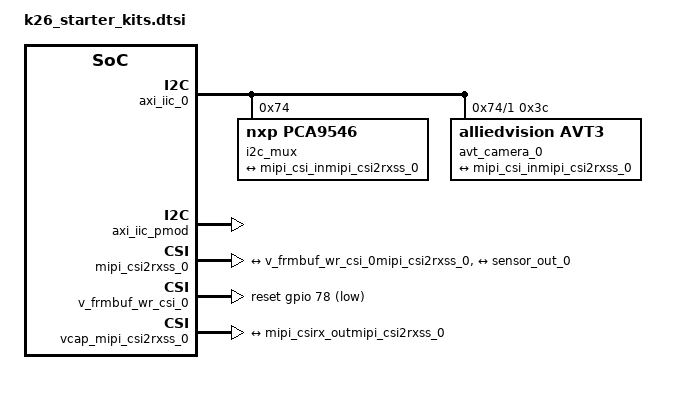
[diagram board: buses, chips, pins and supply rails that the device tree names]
#include <dt-bindings/gpio/gpio.h>
#include <dt-bindings/media/xilinx-vip.h>

#define MIPI_CSI2_DT_NULL		0x10
#define MIPI_CSI2_DT_BLANKING		0x11
#define MIPI_CSI2_DT_EMBEDDED_8B	0x12
#define MIPI_CSI2_DT_YUV420_8B		0x18
#define MIPI_CSI2_DT_YUV420_10B		0x19
#define MIPI_CSI2_DT_YUV420_8B_LEGACY	0x1a
#define MIPI_CSI2_DT_YUV420_8B_CS	0x1c
#define MIPI_CSI2_DT_YUV420_10B_CS	0x1d
#define MIPI_CSI2_DT_YUV422_8B		0x1e
#define MIPI_CSI2_DT_YUV422_10B		0x1f
#define MIPI_CSI2_DT_RGB444		0x20
#define MIPI_CSI2_DT_RGB555		0x21
#define MIPI_CSI2_DT_RGB565		0x22
#define MIPI_CSI2_DT_RGB666		0x23
#define MIPI_CSI2_DT_RGB888		0x24
#define MIPI_CSI2_DT_RAW28		0x26
#define MIPI_CSI2_DT_RAW24		0x27
#define MIPI_CSI2_DT_RAW6		0x28
#define MIPI_CSI2_DT_RAW7		0x29
#define MIPI_CSI2_DT_RAW8		0x2a
#define MIPI_CSI2_DT_RAW10		0x2b
#define MIPI_CSI2_DT_RAW12		0x2c
#define MIPI_CSI2_DT_RAW14		0x2d
#define MIPI_CSI2_DT_RAW16		0x2e
#define MIPI_CSI2_DT_RAW20		0x2f
#define MIPI_CSI2_DT_USER_DEFINED(n)	(0x30 + (n))	/* 0..7 */

/dts-v1/;
/plugin/;
/ {
	fragment@0 {
		target = <&fpga_full>;
		overlay0: __overlay__ {
			#address-cells = <2>;
			#size-cells = <2>;
			firmware-name = "k26_starter_kits.bit.bin";
			resets = <&zynqmp_reset 116>, <&zynqmp_reset 117>, <&zynqmp_reset 118>, <&zynqmp_reset 119>;
		};
	};
	fragment@1 {
		target = <&amba>;
		overlay1: __overlay__ {
			afi0: afi0 {
				compatible = "xlnx,afi-fpga";
				config-afi = < 0 0>, <1 0>, <2 0>, <3 0>, <4 0>, <5 0>, <6 0>, <7 0>, <8 0>, <9 0>, <10 0>, <11 0>, <12 0>, <13 0>, <14 0x900>, <15 0x000>;
			};
			clocking0: clocking0 {
				#clock-cells = <0>;
				assigned-clock-rates = <99999001>;
				assigned-clocks = <&zynqmp_clk 71>;
				clock-output-names = "fabric_clk";
				clocks = <&zynqmp_clk 71>;
				compatible = "xlnx,fclk";
			};
			clocking1: clocking1 {
				#clock-cells = <0>;
				assigned-clock-rates = <299997009>;
				assigned-clocks = <&zynqmp_clk 72>;
				clock-output-names = "fabric_clk";
				clocks = <&zynqmp_clk 72>;
				compatible = "xlnx,fclk";
			};
		};
	};
	fragment@2 {
		target = <&amba>;
		overlay2: __overlay__ {
			#address-cells = <2>;
			#size-cells = <2>;
			axi_iic_0: i2c@80010000 {
				#address-cells = <1>;
				#size-cells = <0>;
				clock-names = "s_axi_aclk";
				clocks = <&zynqmp_clk 71>;
				compatible = "xlnx,axi-iic-2.1", "xlnx,xps-iic-2.00.a";
				interrupt-names = "iic2intc_irpt";
				interrupt-parent = <&gic>;
				interrupts = <0 89 4>;
				reg = <0x0 0x80010000 0x0 0x10000>;

				i2c_mux: i2c-mux@74 {
					compatible = "nxp,pca9546";
					#address-cells = <1>;
					#size-cells = <0>;
					reg = <0x74>;

					i2c@0 {
						#address-cells = <1>;
						#size-cells = <0>;
						reg = <0>;

						avt_camera_2@3c {
							compatible = "alliedvision,avt3";

							reg = <0x3c>;
							csi_id = <2>;

							/* powerdown-gpios = <&axi_gpio_0 0 GPIO_ACTIVE_LOW>;
							reset-gpios = <&axi_gpio_0 4 GPIO_ACTIVE_LOW>; */
							
							bcrm_wait_timeout = <5222>; /*<4000>;*/
							mipi_csi;
							status = "disabled";

							streamon_delay = <102>; 
							x_force_reset_on_init;
							
							avt-ignore-yuv420_8_leg_avail;
							avt-ignore-yuv420_8_avail;
							avt-ignore-yuv420_10_avail;
							avt-ignore-yuv420_8_csps_avail;
							avt-ignore-yuv420_10_csps_avail;
							x_avt-ignore-yuv422_8_avail;
							avt-ignore-yuv422_10_avail;
							avt-ignore-rgb888_avail;
							avt-ignore-rgb666_avail;
							avt-ignore-rgb565_avail;
							avt-ignore-rgb555_avail;
							avt-ignore-rgb444_avail;
							avt-ignore-raw6_avail;
							avt-ignore-raw7_avail;
							avt-ignore-raw8_avail;
							avt-ignore-raw10_avail;
							avt-ignore-raw12_avail;
							avt-ignore-raw14_avail;

							port {
								sensor_out_2: endpoint {
									/*remote-endpoint = <&mipi_csi_inmipi_csi2rxss_0>;*/
									data-lanes = <1 2 3 4>;
									clock-lanes = <0>;
									link-frequencies = /bits/ 64 <750000000>;
								};
							};
						};
					};
					i2c@1 {
						#address-cells = <1>;
						#size-cells = <0>;
						reg = <1>;

						avt_camera_0@3c {
							compatible = "alliedvision,avt3";

							reg = <0x3c>;
							csi_id = <0>;

							/* powerdown-gpios = <&axi_gpio_0 0 GPIO_ACTIVE_LOW>;
							reset-gpios = <&axi_gpio_0 4 GPIO_ACTIVE_LOW>; */
							
							bcrm_wait_timeout = <5000>; /*<4000>;*/
							mipi_csi;
							status = "okay";

							streamon_delay = <100>; 
							x_force_reset_on_init;
							
							avt-ignore-yuv420_8_leg_avail;
							avt-ignore-yuv420_8_avail;
							avt-ignore-yuv420_10_avail;
							avt-ignore-yuv420_8_csps_avail;
							avt-ignore-yuv420_10_csps_avail;
							x_avt-ignore-yuv422_8_avail;
							avt-ignore-yuv422_10_avail;
							avt-ignore-rgb888_avail;
							avt-ignore-rgb666_avail;
							avt-ignore-rgb565_avail;
							avt-ignore-rgb555_avail;
							avt-ignore-rgb444_avail;
							avt-ignore-raw6_avail;
							avt-ignore-raw7_avail;
							avt-ignore-raw8_avail;
							avt-ignore-raw10_avail;
							avt-ignore-raw12_avail;
							avt-ignore-raw14_avail;

							port {
								sensor_out_0: endpoint {
									remote-endpoint = <&mipi_csi_inmipi_csi2rxss_0>;
									data-lanes = <1 2 3 4>;
									clock-lanes = <0>;
									link-frequencies = /bits/ 64 <750000000>;
								};
							};
						};
					};
				};
			};
			axi_iic_pmod: i2c@80020000 {
				#address-cells = <1>;
				#size-cells = <0>;
				clock-names = "s_axi_aclk";
				clocks = <&zynqmp_clk 71>;
				compatible = "xlnx,axi-iic-2.1", "xlnx,xps-iic-2.00.a";
				interrupt-names = "iic2intc_irpt";
				interrupt-parent = <&gic>;
				interrupts = <0 92 4>;
				reg = <0x0 0x80020000 0x0 0x10000>;

				avt_camera_1@3c {
					compatible = "alliedvision,avt3";

					reg = <0x3c>;
					csi_id = <1>;

					/* powerdown-gpios = <&axi_gpio_0 0 GPIO_ACTIVE_LOW>;
					reset-gpios = <&axi_gpio_0 4 GPIO_ACTIVE_LOW>; */
					
					bcrm_wait_timeout = <5001>; /*<4000>;*/
					mipi_csi;
					status = "disabled";

					streamon_delay = <101>; 
					x_force_reset_on_init;
					
					avt-ignore-yuv420_8_leg_avail;
					avt-ignore-yuv420_8_avail;
					avt-ignore-yuv420_10_avail;
					avt-ignore-yuv420_8_csps_avail;
					avt-ignore-yuv420_10_csps_avail;
					x_avt-ignore-yuv422_8_avail;
					avt-ignore-yuv422_10_avail;
					avt-ignore-rgb888_avail;
					avt-ignore-rgb666_avail;
					avt-ignore-rgb565_avail;
					avt-ignore-rgb555_avail;
					avt-ignore-rgb444_avail;
					avt-ignore-raw6_avail;
					avt-ignore-raw7_avail;
					avt-ignore-raw8_avail;
					avt-ignore-raw10_avail;
					avt-ignore-raw12_avail;
					avt-ignore-raw14_avail;

					port {
						sensor_out_1: endpoint {
							/*remote-endpoint = <&mipi_csi_inmipi_csi2rxss_1>;*/
							data-lanes = <1 2 3 4>;
							clock-lanes = <0>;
							link-frequencies = /bits/ 64 <750000000>;
						};
					};
				};
			};

			mipi_csi2rxss_0: mipi_csi2_rx_subsystem@80000000 {
				clock-names = "lite_aclk", "dphy_clk_200M", "video_aclk";
				clocks = <&zynqmp_clk 71>, <&misc_clk_0>, <&zynqmp_clk 72>;
				compatible = "xlnx,mipi-csi2-rx-subsystem-5.1";
				interrupt-names = "csirxss_csi_irq";
				interrupt-parent = <&gic>;
				interrupts = <0 90 4>;
				reg = <0x0 0x80000000 0x0 0x2000>;
				xlnx,axis-tdata-width = <32>;
				xlnx,cal-mode = "NONE";
				xlnx,clk-io-swap = "false";
				xlnx,clk-lane-io-position = <0xd>;
				xlnx,clk-lp-io-swap = "false";
				xlnx,csi-en-activelanes = "true";
				xlnx,csi-en-crc = "true";
				xlnx,csi-filter-userdatatype = "true";
				xlnx,csi-opt1-regs = "false";
				xlnx,csi-pxl-format = < MIPI_CSI2_DT_YUV422_8B >;/*"YUV422_8bit"; */
				xlnx,csi2rx-dbg = <0x0>;
				xlnx,data-lane0-io-position = <0xf>;
				xlnx,data-lane1-io-position = <0x11>;
				xlnx,data-lane2-io-position = <0x13>;
				xlnx,data-lane3-io-position = <0x15>;
				xlnx,dl0-io-swap = "false";
				xlnx,dl0-lp-io-swap = "false";
				xlnx,dl1-io-swap = "false";
				xlnx,dl1-lp-io-swap = "false";
				xlnx,dl2-io-swap = "false";
				xlnx,dl2-lp-io-swap = "false";
				xlnx,dl3-io-swap = "false";
				xlnx,dl3-lp-io-swap = "false";
				xlnx,dphy-lanes = <0x4>;
				xlnx,dphy-mode = "SLAVE";
				xlnx,dphy-present ;
				/*
				xlnx,en-7s-linerate-check = "false";
				xlnx,en-active-lanes ;
				xlnx,en-bg0-pin0 = "false";
				xlnx,en-bg0-pin6 = "false";
				xlnx,en-bg1-pin0 = "false";
				xlnx,en-bg1-pin6 = "false";
				xlnx,en-bg2-pin0 = "false";
				xlnx,en-bg2-pin6 = "false";
				xlnx,en-bg3-pin0 = "false";
				xlnx,en-bg3-pin6 = "false";
				xlnx,en-clk300m = "false";
				xlnx,en-cnts-byte-clk = "false";
				xlnx,en-csi-v2-0 = "false";
				xlnx,en-exdesigns = "false";
				xlnx,en-ext-tap = "false";
				xlnx,en-rxppi-as-mon = "false";
				xlnx,en-timeout-regs = "true";
				xlnx,en-vcx = "false";
				xlnx,esc-timeout = <0x6400>;
				xlnx,exdes-board = "ZCU102";
				xlnx,exdes-config = "MIPI_Video_Pipe_Camera_to_Display";
				xlnx,exdes-fmc = "LI-IMX274MIPI-FMC V1.0 Single Sensor";
				xlnx,exdesboard-version = <0x2>;
				xlnx,fifo-rd-en-control = "true";
				*/
				xlnx,hs-line-rate = <0x2ee>;
				xlnx,hs-settle-ns = <0x94>;
				xlnx,hs-timeout = <0x10005>;
				xlnx,idly-group-name = "mipi_csi2rx_idly_group";
				xlnx,idly-tap = <0x1>;
				xlnx,init = <0x186a0>;
				xlnx,int-qor-check = <0x0>;
				xlnx,is-7series = "false";
				xlnx,is-versal = "false";
				xlnx,lprx-disable-extport = <0x0>;
				xlnx,max-lanes = <4>;
				xlnx,mipi-slv-int = <0x0>;
				xlnx,ooc-vid-clk = "6.666";
				xlnx,ppc = <1>;
				xlnx,rcve-alt-deskew-seq = "false";
				xlnx,rcve-deskew-seq = "false";
				xlnx,share-idlyctrl = "false";
				xlnx,sprt-isp-bridge = "false";
				xlnx,stretch-line-rate = <0xdac>;
				xlnx,vc = <4>;
				xlnx,vfb ;
				mipi_csi_portsmipi_csi2rxss_0: ports {
					#address-cells = <1>;
					#size-cells = <0>;
					mipi_csi_port1mipi_csi2rxss_0: port@1 {
						/* Fill cfa-pattern=rggb for raw data types, other fields video-format and video-width user needs to fill */
						reg = <1>;
						/*xlnx,cfa-pattern = "rggb";*/
						xlnx,video-format = <3>;
						xlnx,video-width = <8>;
						mipi_csirx_outmipi_csi2rxss_0: endpoint {
							remote-endpoint = <&v_frmbuf_wr_csi_0mipi_csi2rxss_0>;
						};
					};
					mipi_csi_port0mipi_csi2rxss_0: port@0 {
						/* Fill cfa-pattern=rggb for raw data types, other fields video-format,video-width user needs to fill */
						/* User need to add something like remote-endpoint=<&out> under the node csiss_in:endpoint */
						reg = <0>;
						/*xlnx,cfa-pattern = "rggb";*/
						xlnx,video-format = <3>;
						xlnx,video-width = <8>;
						mipi_csi_inmipi_csi2rxss_0: endpoint {
							data-lanes = <1 2 3 4>;
							remote-endpoint = <&sensor_out_0>;
						};
					};
				};
			};
			misc_clk_0: misc_clk_0 {
				#clock-cells = <0>;
				clock-frequency = <199998000>;
				compatible = "fixed-clock";
			};
			v_frmbuf_wr_csi_0: v_frmbuf_wr@a0000000 {
				#dma-cells = <1>;
				clock-names = "ap_clk";
				clocks = <&zynqmp_clk 72>;
				compatible = "xlnx,v-frmbuf-wr-2.4", "xlnx,axi-frmbuf-wr-v2.1";
				interrupt-names = "interrupt";
				interrupt-parent = <&gic>;
				interrupts = <0 91 4>;
				reg = <0x0 0xa0000000 0x0 0x10000>;
				reset-gpios = <&gpio 78 1>;
				xlnx,dma-addr-width = <32>;
				xlnx,dma-align = <8>;
				xlnx,max-height = <4096>;
				xlnx,max-width = <8192>;
				xlnx,pixels-per-clock = <1>;
				xlnx,s-axi-ctrl-addr-width = <0x7>;
				xlnx,s-axi-ctrl-data-width = <0x20>;
				xlnx,vid-formats = "uyvy", "y8", "yuyv";
				xlnx,video-width = <8>;
			};
			vcap_mipi_csi2rxss_0 {
				compatible = "xlnx,video";
				dma-names = "port0";
				dmas = <&v_frmbuf_wr_csi_0 0>;
				vcap_portsmipi_csi2rxss_0: ports {
					#address-cells = <1>;
					#size-cells = <0>;
					vcap_portmipi_csi2rxss_0: port@0 {
						direction = "input";
						reg = <0>;
						v_frmbuf_wr_csi_0mipi_csi2rxss_0: endpoint {
							remote-endpoint = <&mipi_csirx_outmipi_csi2rxss_0>;
						};
					};
				};
			};
		};
	};
};
